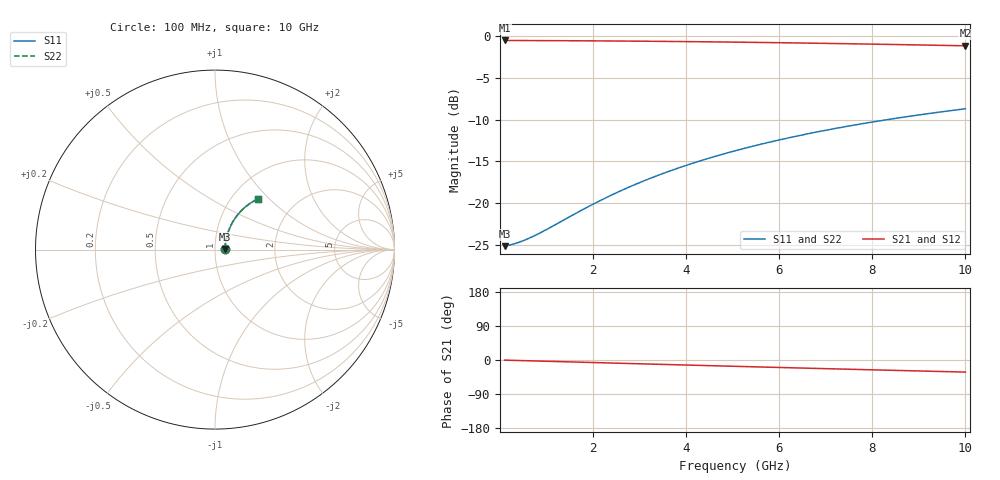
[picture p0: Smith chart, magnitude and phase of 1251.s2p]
# Hz S RI R 50.00
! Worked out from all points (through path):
!   100 points, 100 MHz to 10 GHz, reference 50 ohm
!   highest |S21| = -0.49 dB at 100 MHz (marker M1); lowest = -1.1 dB at 10 GHz (marker M2)
!   group delay of S21, straight-line fit = 8.88 ps
!   lowest |S11| = -25.2 dB at 100 MHz (marker M3), VSWR 1.12, Z = 55.8 + j0.417 ohm
!   |S11| at or under -10 dB: start of sweep to 8.308 GHz
!   |S22| runs from -25.2 to -8.7 dB; largest |S21 - S12| = 0
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1e8  0.0551 0.00372  0.9449 -0.00553  0.9449 -0.00553  0.0551 0.00372
3e8  0.0558 0.0111  0.9441 -0.0166  0.9441 -0.0166  0.0558 0.0111
4e8  0.0562 0.0148  0.9438 -0.0221  0.9438 -0.0221  0.0562 0.0148
5e8  0.0566 0.0185  0.9434 -0.0276  0.9434 -0.0276  0.0566 0.0185
7e8  0.0574 0.0259  0.9425 -0.0386  0.9425 -0.0386  0.0574 0.0259
1e9  0.0588 0.0369  0.941 -0.055  0.941 -0.055  0.0588 0.0369
1.8e9  0.0643 0.066  0.9351 -0.0985  0.9351 -0.0985  0.0643 0.066
2.2e9  0.068 0.0802  0.9312 -0.12  0.9312 -0.12  0.068 0.0802
2.6e9  0.0722 0.0942  0.9266 -0.1413  0.9266 -0.1413  0.0722 0.0942
3e9  0.0771 0.108  0.9213 -0.1623  0.9213 -0.1623  0.0771 0.108
3.4e9  0.0826 0.1214  0.9154 -0.183  0.9154 -0.183  0.0826 0.1214
3.8e9  0.0887 0.1346  0.9088 -0.2034  0.9088 -0.2034  0.0887 0.1346
4.2e9  0.0953 0.1474  0.9016 -0.2235  0.9016 -0.2235  0.0953 0.1474
4.6e9  0.1025 0.1598  0.8939 -0.2432  0.8939 -0.2432  0.1025 0.1598
5.1e9  0.1122 0.1748  0.8834 -0.2673  0.8834 -0.2673  0.1122 0.1748
5.5e9  0.1204 0.1862  0.8744 -0.286  0.8744 -0.286  0.1204 0.1862
5.9e9  0.1292 0.1973  0.8649 -0.3043  0.8649 -0.3043  0.1292 0.1973
6.7e9  0.1478 0.2179  0.8444 -0.3396  0.8444 -0.3396  0.1478 0.2179
7.5e9  0.168 0.2365  0.8224 -0.3728  0.8224 -0.3728  0.168 0.2365
8.4e9  0.192 0.255  0.7959 -0.4078  0.7959 -0.4078  0.192 0.255
9.2e9  0.2143 0.2691  0.771 -0.4367  0.771 -0.4367  0.2143 0.2691
1e10  0.2374 0.2811  0.7453 -0.4636  0.7453 -0.4636  0.2374 0.2811
